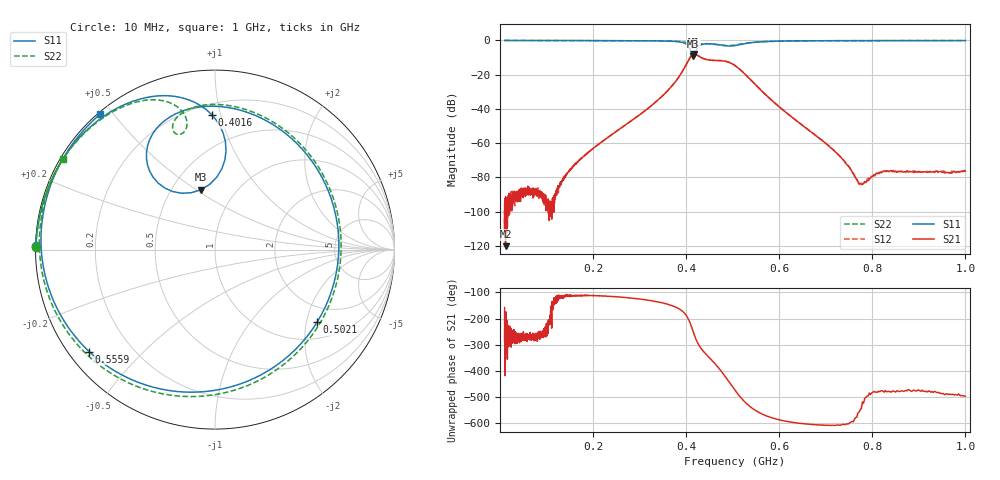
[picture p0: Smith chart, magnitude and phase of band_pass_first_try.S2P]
!Agilent Technologies,E5071C,MY46101273,A.11.02
!Date: Mon Oct 02 15:08:11 2017
!Data & Calibration Information:
!Freq	S11:SOLT2(ON)	S21:SOLT2(ON)	S12:SOLT2(ON)	S22:SOLT2(ON)
!PortZ  Port1:50+j0  Port2:50+j0
!Above PortZ is port z conversion or system Z0 setting when saving the data.
!When reading, reference impedance value at option line is always used.
# Hz S dB R 50
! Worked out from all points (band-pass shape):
!   1601 points, 10 MHz to 1 GHz, reference 50 ohm
!   highest |S21| = -7.95 dB at 416.9 MHz (marker M1); lowest = -120.2 dB at 11.94 MHz (marker M2)
!   |S21| within 3 dB of the highest: 406.4 MHz to 440.9 MHz (34.56 MHz wide, 8.16 % of centre)
!   lowest |S11| = -9.3 dB at 414.4 MHz (marker M3), VSWR 2.04, Z = 34.6 + j26.2 ohm
!   |S11| at or under -10 dB: nowhere
!   |S22| runs from -3.5 to 0.0 dB; largest |S21 - S12| = 0.0021
!   S11 on the Smith chart (normalised r, x): 10 MHz: 0.00, +0.01; 401.6 MHz: 0.28, +0.94; 502.1 MHz: 1.46, -2.31; 555.9 MHz: 0.06, -0.35; 1 GHz: 0.01, +0.46
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1e7  -0.02 178.9  -104.83 -158.0  -94.16 71.9  -0.02 179.1
1.193882e7  -0.01 178.7  -120.18 110.1  -96.92 111.0  -0.02 178.9
1.367886e8  -0.06 165.4  -80.76 -118.1  -80.65 -111.5  -0.05 167.6
1.752292e8  -0.07 160.9  -68.81 -111.9  -68.78 -111.2  -0.06 163.6
3.405633e8  -0.27 131.3  -34.56 -136.7  -34.56 -136.7  -0.24 136.7
3.851196e8  -0.82 109.7  -21.06 -163.2  -21.04 -163.2  -0.59 118.6
4.016433e8  -2.51 91.2  -13.34 168.1  -13.32 167.9  -1.42 106.5
4.143538e8  -9.30 103.2  -8.17 114.1  -8.18 113.8  -3.42 105.2
4.168959e8  -8.76 120.6  -7.95 100.9  -7.97 100.6  -3.44 107.6
4.321485e8  -2.64 117.6  -9.97 46.0  -10.00 46.0  -2.01 101.1
4.461301e8  -1.95 97.3  -11.30 17.6  -11.31 17.7  -1.88 83.3
4.601116e8  -2.12 75.1  -11.67 -8.5  -11.67 -8.4  -2.25 60.2
4.842616e8  -3.06 20.0  -12.16 -61.8  -12.15 -61.9  -3.05 3.4
5.020563e8  -3.12 -35.5  -14.14 -106.4  -14.14 -106.5  -2.78 -45.6
5.058695e8  -2.98 -47.4  -14.82 -115.6  -14.82 -115.7  -2.62 -55.3
5.258694e8  -1.91 -98.3  -19.52 -157.5  -19.53 -157.6  -1.69 -96.5
5.559144e8  -0.89 -141.0  -27.77 162.6  -27.80 162.6  -0.86 -132.6
5.965634e8  -0.42 -168.1  -37.97 135.4  -37.99 135.8  -0.43 -157.0
6.70792e8  -0.20 169.2  -53.96 116.1  -53.81 116.3  -0.21 -177.9
7.714948e8  -0.12 153.0  -84.05 163.0  -83.06 162.3  -0.13 167.8
8.35378e8  -0.11 145.7  -76.57 -118.3  -76.64 -120.3  -0.11 161.5
1e9  -0.09 130.4  -76.43 -136.0  -75.60 -141.3  -0.10 149.2
